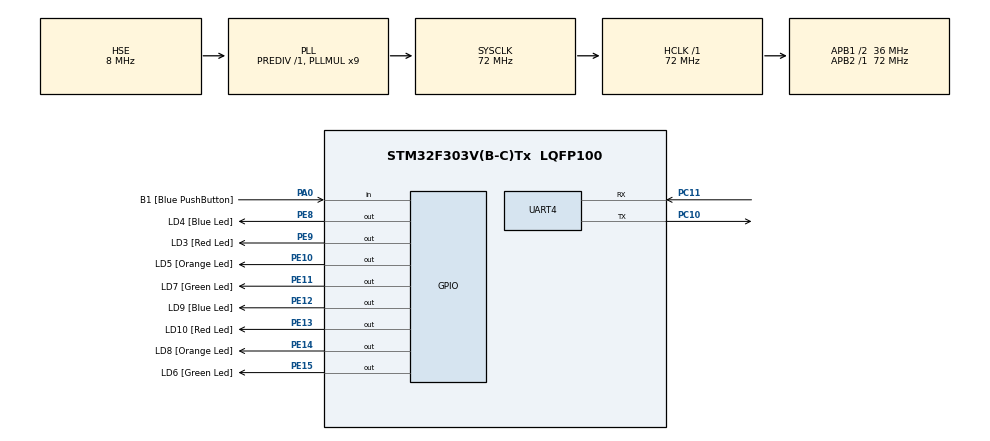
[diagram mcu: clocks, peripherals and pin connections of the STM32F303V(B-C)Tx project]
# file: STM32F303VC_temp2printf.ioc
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ADC1.Channel-0\#ChannelRegularConversion=ADC_CHANNEL_TEMPSENSOR
ADC1.ContinuousConvMode=DISABLE
ADC1.ExternalTrigConv=ADC_EXTERNALTRIGCONV_T1_TRGO
ADC1.NbrOfConversion=1
ADC1.NbrOfConversionFlag=1
ADC1.Offset-0\#ChannelRegularConversion=0
ADC1.OffsetNumber-0\#ChannelRegularConversion=ADC_OFFSET_NONE
ADC1.Rank-0\#ChannelRegularConversion=1
ADC1.SamplingTime-0\#ChannelRegularConversion=ADC_SAMPLETIME_601CYCLES_5
ADC1.master=1
Mcu.Family=STM32F3
Mcu.Name=STM32F303V(B-C)Tx
Mcu.Package=LQFP100
NVIC.ADC1_2_IRQn=true\:0\:0\:false\:false\:true\:true\:true\:true
NVIC.PriorityGroup=NVIC_PRIORITYGROUP_0
NVIC.TIM1_UP_TIM16_IRQn=true\:0\:0\:false\:false\:true\:true\:true\:true
PA0.GPIO_Label=B1 [Blue PushButton]
PA0.Signal=GPIO_Input
PA13.GPIO_Label=SWDIO
PA13.Mode=Serial_Wire
PA13.Signal=SYS_JTMS-SWDIO
PA14.GPIO_Label=SWCLK
PA14.Mode=Serial_Wire
PA14.Signal=SYS_JTCK-SWCLK
PB3.GPIO_Label=SWO
PB3.Signal=SYS_JTDO-TRACESWO
PC10.Mode=Asynchronous
PC10.Signal=UART4_TX
PC11.Mode=Asynchronous
PC11.Signal=UART4_RX
PC14-OSC32_IN.GPIO_Label=OSC32_IN
PC14-OSC32_IN.Signal=RCC_OSC32_IN
PC15-OSC32_OUT.GPIO_Label=OSC32_OUT
PC15-OSC32_OUT.Signal=RCC_OSC32_OUT
PE10.GPIO_Label=LD5 [Orange Led]
PE10.Signal=GPIO_Output
PE11.GPIO_Label=LD7 [Green Led]
PE11.Signal=GPIO_Output
PE12.GPIO_Label=LD9 [Blue Led]
PE12.Signal=GPIO_Output
PE13.GPIO_Label=LD10 [Red Led]
PE13.Signal=GPIO_Output
PE14.GPIO_Label=LD8 [Orange Led]
PE14.Signal=GPIO_Output
PE15.GPIO_Label=LD6 [Green Led]
PE15.Signal=GPIO_Output
PE8.GPIO_Label=LD4 [Blue Led]
PE8.Signal=GPIO_Output
PE9.GPIO_Label=LD3 [Red Led]
PE9.Signal=GPIO_Output
PF0-OSC_IN.GPIO_Label=OSC_IN
PF0-OSC_IN.Mode=HSE-External-Clock-Source
PF0-OSC_IN.Signal=RCC_OSC_IN
PF1-OSC_OUT.GPIO_Label=OSC_OUT
PF1-OSC_OUT.Signal=RCC_OSC_OUT
ProjectManager.HeapSize=0x200
ProjectManager.StackSize=0x400
ProjectManager.TargetToolchain=CMake
RCC.AHBFreq_Value=72000000
RCC.APB1CLKDivider=RCC_HCLK_DIV2
RCC.APB1Freq_Value=36000000
RCC.APB1TimFreq_Value=72000000
RCC.APB2Freq_Value=72000000
RCC.APB2TimFreq_Value=72000000
RCC.CortexFreq_Value=72000000
RCC.HCLKFreq_Value=72000000
RCC.HSE_VALUE=8000000
RCC.HSI_VALUE=8000000
RCC.LSE_VALUE=32768
RCC.PLLMUL=RCC_PLL_MUL9
RCC.PLLSourceVirtual=RCC_PLLSOURCE_HSE
RCC.SYSCLKFreq_VALUE=72000000
RCC.SYSCLKSourceVirtual=RCC_SYSCLKSOURCE_PLLCLK
RCC.USBFreq_Value=72000000
TIM1.Period=7200
TIM1.Prescaler=9999
TIM1.TIM_MasterOutputTrigger=TIM_TRGO_UPDATE
VP_ADC1_TempSens_Input.Mode=IN-TempSens
VP_TIM1_VS_ClockSourceINT.Mode=Internal
board=STM32F3DISCOVERY

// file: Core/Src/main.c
/* USER CODE BEGIN Header */
/**
 ******************************************************************************
 * @file           : main.c
 * @brief          : Main program body
 ******************************************************************************
 * @attention
 *
 * Copyright (c) 2024 STMicroelectronics.
 * All rights reserved.
 *
 * This software is licensed under terms that can be found in the LICENSE file
 * in the root directory of this software component.
 * If no LICENSE file comes with this software, it is provided AS-IS.
 *
 ******************************************************************************
 */
/* USER CODE END Header */
#include "main.h"

/* USER CODE BEGIN Includes */
#include "stdio.h"
/* USER CODE END Includes */

ADC_HandleTypeDef hadc1;

TIM_HandleTypeDef htim1;

UART_HandleTypeDef huart4;

void SystemClock_Config(void);
static void MX_GPIO_Init(void);
static void MX_ADC1_Init(void);
static void MX_TIM1_Init(void);
static void MX_UART4_Init(void);
/* USER CODE BEGIN PFP */
#ifdef __GNUC__
#define PUTCHAR_PROTOTYPE int __io_putchar(int ch)
#else
#define PUTCHAR_PROTOTYPE int fputc(int ch, FILE *f)
#endif
/* USER CODE END PFP */

/* USER CODE BEGIN 0 */
uint8_t flag_1s = 0;

// 0x1FFF F7B8 - 0x1FFF F7B9 [TS ADC raw data acquired at 30degC, VDDA = 3.3V]
volatile uint32_t *TS_CAL1_ADDR = (uint32_t *)(0x1FFFF7B8);
// 0x1FFF F7C2 - 0x1FFF F7C3 [TS ADC raw data acquired at 110degC, VDDA = 3.3V]
volatile uint32_t *TS_CAL2_ADDR = (uint32_t *)(0x1FFFF7C2);

uint16_t TS_CAL1 = 0;
uint16_t TS_CAL2 = 0;
uint16_t ADC1_CAL = 0;
float mcu_temp = 0.0f;

/* Retargets the C library printf function to the USART. */
PUTCHAR_PROTOTYPE
{
  // Write a single character to the UART4 and loop until the end of transmission.
  HAL_UART_Transmit(&huart4, (uint8_t *)&ch, 1, 0xFFFF);
  return ch;
}

/* USER CODE END 0 */

int main(void)
{

  /* MCU Configuration--------------------------------------------------------*/

  /* Reset of all peripherals, Initializes the Flash interface and the Systick. */
  HAL_Init();

  /* Configure the system clock */
  SystemClock_Config();

  /* Initialize all configured peripherals */
  MX_GPIO_Init();
  MX_ADC1_Init();
  MX_TIM1_Init();
  MX_UART4_Init();
  /* USER CODE BEGIN 2 */
  HAL_ADC_Stop(&hadc1);
  HAL_ADCEx_Calibration_Start(&hadc1, ADC_SINGLE_ENDED);
  ADC1_CAL = HAL_ADCEx_Calibration_GetValue(&hadc1, ADC_SINGLE_ENDED);

  HAL_ADC_Start_IT(&hadc1);
  HAL_TIM_Base_Start_IT(&htim1);

  TS_CAL1 = *TS_CAL1_ADDR;
  TS_CAL2 = *TS_CAL2_ADDR;
  /* USER CODE END 2 */

  /* Infinite loop */
  /* USER CODE BEGIN WHILE */
  while (1)
  {
    if(flag_1s != 0)
    {
      flag_1s = 0;
      //printf("still alive \r\n");

      mcu_temp = (((float)(ADC1->DR - ADC1_CAL) - TS_CAL1) / (TS_CAL2 -TS_CAL1)) * (110.0F - 30.0F) + 30.0F;
      printf("%1.2f \r\n", mcu_temp);

      HAL_GPIO_TogglePin(LD10_GPIO_Port, LD10_Pin);
    }
    /* USER CODE END WHILE */

  }
}

void SystemClock_Config(void)
{
  RCC_OscInitTypeDef RCC_OscInitStruct = {0};
  RCC_ClkInitTypeDef RCC_ClkInitStruct = {0};
  RCC_PeriphCLKInitTypeDef PeriphClkInit = {0};

  /** Initializes the RCC Oscillators according to the specified parameters
   * in the RCC_OscInitTypeDef structure.
   */
  RCC_OscInitStruct.OscillatorType = RCC_OSCILLATORTYPE_HSE;
  RCC_OscInitStruct.HSEState = RCC_HSE_BYPASS;
  RCC_OscInitStruct.HSEPredivValue = RCC_HSE_PREDIV_DIV1;
  RCC_OscInitStruct.HSIState = RCC_HSI_ON;
  RCC_OscInitStruct.PLL.PLLState = RCC_PLL_ON;
  RCC_OscInitStruct.PLL.PLLSource = RCC_PLLSOURCE_HSE;
  RCC_OscInitStruct.PLL.PLLMUL = RCC_PLL_MUL9;
  if (HAL_RCC_OscConfig(&RCC_OscInitStruct) != HAL_OK)
  {
    Error_Handler();
  }

  /** Initializes the CPU, AHB and APB buses clocks
   */
  RCC_ClkInitStruct.ClockType = RCC_CLOCKTYPE_HCLK | RCC_CLOCKTYPE_SYSCLK | RCC_CLOCKTYPE_PCLK1 | RCC_CLOCKTYPE_PCLK2;
  RCC_ClkInitStruct.SYSCLKSource = RCC_SYSCLKSOURCE_PLLCLK;
  RCC_ClkInitStruct.AHBCLKDivider = RCC_SYSCLK_DIV1;
  RCC_ClkInitStruct.APB1CLKDivider = RCC_HCLK_DIV2;
  RCC_ClkInitStruct.APB2CLKDivider = RCC_HCLK_DIV1;

  if (HAL_RCC_ClockConfig(&RCC_ClkInitStruct, FLASH_LATENCY_2) != HAL_OK)
  {
    Error_Handler();
  }
  PeriphClkInit.PeriphClockSelection = RCC_PERIPHCLK_UART4 | RCC_PERIPHCLK_TIM1 | RCC_PERIPHCLK_ADC12;
  PeriphClkInit.Uart4ClockSelection = RCC_UART4CLKSOURCE_PCLK1;
  PeriphClkInit.Adc12ClockSelection = RCC_ADC12PLLCLK_DIV1;
  PeriphClkInit.Tim1ClockSelection = RCC_TIM1CLK_HCLK;
  if (HAL_RCCEx_PeriphCLKConfig(&PeriphClkInit) != HAL_OK)
  {
    Error_Handler();
  }
}

static void MX_ADC1_Init(void)
{

  ADC_MultiModeTypeDef multimode = {0};
  ADC_ChannelConfTypeDef sConfig = {0};

  /** Common config
   */
  hadc1.Instance = ADC1;
  hadc1.Init.ClockPrescaler = ADC_CLOCK_ASYNC_DIV1;
  hadc1.Init.Resolution = ADC_RESOLUTION_12B;
  hadc1.Init.ScanConvMode = ADC_SCAN_DISABLE;
  hadc1.Init.ContinuousConvMode = DISABLE;
  hadc1.Init.DiscontinuousConvMode = DISABLE;
  hadc1.Init.ExternalTrigConvEdge = ADC_EXTERNALTRIGCONVEDGE_RISING;
  hadc1.Init.ExternalTrigConv = ADC_EXTERNALTRIGCONV_T1_TRGO;
  hadc1.Init.DataAlign = ADC_DATAALIGN_RIGHT;
  hadc1.Init.NbrOfConversion = 1;
  hadc1.Init.DMAContinuousRequests = DISABLE;
  hadc1.Init.EOCSelection = ADC_EOC_SINGLE_CONV;
  hadc1.Init.LowPowerAutoWait = DISABLE;
  hadc1.Init.Overrun = ADC_OVR_DATA_OVERWRITTEN;
  if (HAL_ADC_Init(&hadc1) != HAL_OK)
  {
    Error_Handler();
  }

  /** Configure the ADC multi-mode
   */
  multimode.Mode = ADC_MODE_INDEPENDENT;
  if (HAL_ADCEx_MultiModeConfigChannel(&hadc1, &multimode) != HAL_OK)
  {
    Error_Handler();
  }

  /** Configure Regular Channel
   */
  sConfig.Channel = ADC_CHANNEL_TEMPSENSOR;
  sConfig.Rank = ADC_REGULAR_RANK_1;
  sConfig.SingleDiff = ADC_SINGLE_ENDED;
  sConfig.SamplingTime = ADC_SAMPLETIME_181CYCLES_5; // 601CYCLES_5;
  sConfig.OffsetNumber = ADC_OFFSET_NONE;
  sConfig.Offset = 0;
  if (HAL_ADC_ConfigChannel(&hadc1, &sConfig) != HAL_OK)
  {
    Error_Handler();
  }
}

static void MX_TIM1_Init(void)
{

  TIM_ClockConfigTypeDef sClockSourceConfig = {0};
  TIM_MasterConfigTypeDef sMasterConfig = {0};

  htim1.Instance = TIM1;
  htim1.Init.Prescaler = 9999;
  htim1.Init.CounterMode = TIM_COUNTERMODE_UP;
  htim1.Init.Period = 7200;
  htim1.Init.ClockDivision = TIM_CLOCKDIVISION_DIV1;
  htim1.Init.RepetitionCounter = 0;
  htim1.Init.AutoReloadPreload = TIM_AUTORELOAD_PRELOAD_DISABLE;
  if (HAL_TIM_Base_Init(&htim1) != HAL_OK)
  {
    Error_Handler();
  }
  sClockSourceConfig.ClockSource = TIM_CLOCKSOURCE_INTERNAL;
  if (HAL_TIM_ConfigClockSource(&htim1, &sClockSourceConfig) != HAL_OK)
  {
    Error_Handler();
  }
  sMasterConfig.MasterOutputTrigger = TIM_TRGO_UPDATE;
  sMasterConfig.MasterOutputTrigger2 = TIM_TRGO2_RESET;
  sMasterConfig.MasterSlaveMode = TIM_MASTERSLAVEMODE_DISABLE;
  if (HAL_TIMEx_MasterConfigSynchronization(&htim1, &sMasterConfig) != HAL_OK)
  {
    Error_Handler();
  }
}

static void MX_UART4_Init(void)
{

  huart4.Instance = UART4;
  huart4.Init.BaudRate = 115200;
  huart4.Init.WordLength = UART_WORDLENGTH_8B;
  huart4.Init.StopBits = UART_STOPBITS_1;
  huart4.Init.Parity = UART_PARITY_NONE;
  huart4.Init.Mode = UART_MODE_TX_RX;
  huart4.Init.HwFlowCtl = UART_HWCONTROL_NONE;
  huart4.Init.OverSampling = UART_OVERSAMPLING_16;
  huart4.Init.OneBitSampling = UART_ONE_BIT_SAMPLE_DISABLE;
  huart4.AdvancedInit.AdvFeatureInit = UART_ADVFEATURE_NO_INIT;
  if (HAL_UART_Init(&huart4) != HAL_OK)
  {
    Error_Handler();
  }
}

static void MX_GPIO_Init(void)
{
  GPIO_InitTypeDef GPIO_InitStruct = {0};

  /* GPIO Ports Clock Enable */
  __HAL_RCC_GPIOC_CLK_ENABLE();
  __HAL_RCC_GPIOF_CLK_ENABLE();
  __HAL_RCC_GPIOA_CLK_ENABLE();
  __HAL_RCC_GPIOE_CLK_ENABLE();
  __HAL_RCC_GPIOB_CLK_ENABLE();

  /*Configure GPIO pin Output Level */
  HAL_GPIO_WritePin(GPIOE, LD4_Pin | LD3_Pin | LD5_Pin | LD7_Pin | LD9_Pin | LD10_Pin | LD8_Pin | LD6_Pin, GPIO_PIN_RESET);

  /*Configure GPIO pin : B1_Pin */
  GPIO_InitStruct.Pin = B1_Pin;
  GPIO_InitStruct.Mode = GPIO_MODE_INPUT;
  GPIO_InitStruct.Pull = GPIO_NOPULL;
  HAL_GPIO_Init(B1_GPIO_Port, &GPIO_InitStruct);

  /*Configure GPIO pins : LD4_Pin LD3_Pin LD5_Pin LD7_Pin
                          LD9_Pin LD10_Pin LD8_Pin LD6_Pin */
  GPIO_InitStruct.Pin = LD4_Pin | LD3_Pin | LD5_Pin | LD7_Pin | LD9_Pin | LD10_Pin | LD8_Pin | LD6_Pin;
  GPIO_InitStruct.Mode = GPIO_MODE_OUTPUT_PP;
  GPIO_InitStruct.Pull = GPIO_NOPULL;
  GPIO_InitStruct.Speed = GPIO_SPEED_FREQ_LOW;
  HAL_GPIO_Init(GPIOE, &GPIO_InitStruct);

}

void Error_Handler(void)
{
  __disable_irq();
  while (1)
  {
  }
}
